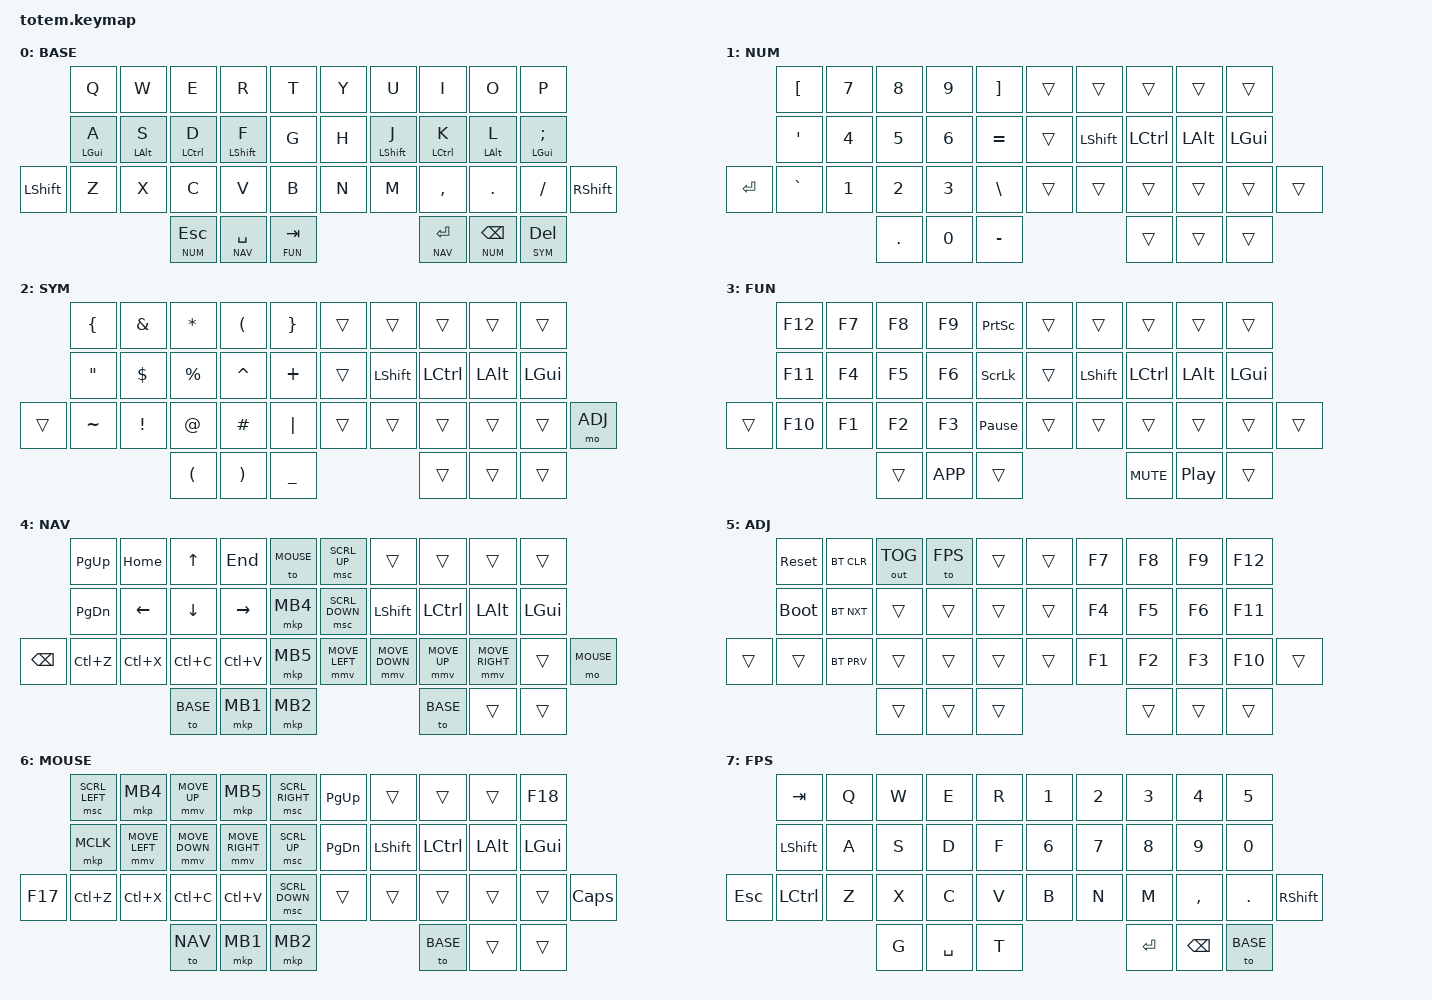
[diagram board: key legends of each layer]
//
//                                                        ▀▀▀▀▀     ▀▀▀▀▀          ▀▀█▀▀
//                                                        ▄▀▀▀▄  ▄  ▄▀▀▀▄  ▄  ▄▀▀▀▄  █  ▄▀▀▀▄
//                                                        █   █  █  █   █  █  █   █  █  █   █
//                                                         ▀▀▀   █   ▀▀▀   █   ▀▀▀   ▀   ▀▀▀
//                                                               █      ▄▄▄█▄▄▄    █   █  
//                                                               ▀      █  █  █     █▄█
//                                                             ▀▀▀▀▀    █  █  █      ▀
//                                                                      ▀  ▀  ▀
//
// ▄▄▄▄▄▄▄▄▄▄▄▄▄▄▄▄▄▄▄▄▄▄▄▄▄▄▄▄▄▄▄▄▄▄▄▄▄▄▄▄▄▄▄▄▄▄▄▄▄▄▄▄▄▄▄▄▄▄▄▄▄▄▄▄▄▄▄▄▄▄▄▄▄▄▄▄▄▄▄▄▄▄▄▄▄▄▄▄▄▄▄▄▄▄▄▄▄▄▄▄▄▄▄▄▄▄▄▄▄▄▄▄▄▄▄▄▄▄▄▄▄▄▄▄▄▄▄▄▄▄▄▄▄▄▄▄▄▄▄▄▄▄▄▄▄▄▄▄▄
 #include <behaviors.dtsi>
#include <dt-bindings/zmk/keys.h>
#include <dt-bindings/zmk/bt.h>
#include <dt-bindings/zmk/outputs.h>
#include <dt-bindings/zmk/mouse.h>

// 레이어 정의 (Miryoku Flip)
#define BASE 0
#define NUM  1
#define SYM  2
#define FUN  3
#define NAV  4
#define ADJ  5
#define MOUSE 6
#define FPS  7

&mt {
  quick-tap-ms = <190>;
  global-quick-tap;
  flavor = "tap-preferred";
  tapping-term-ms = <195>;
};
/ {
    behaviors {
        // Home row mods - Left
       hm_l: homerow_mods_left {
            compatible = "zmk,behavior-hold-tap";
            #binding-cells = <2>;
            tapping-term-ms = <250>;
            quick-tap-ms = <175>;
            require-prior-idle-ms = <150>;  // 다시 150으로 복구
            flavor = "balanced";       // balanced → hold-preferred
            bindings = <&kp>, <&kp>;
            hold-trigger-key-positions = <5 6 7 8 9 15 16 17 18 19 25 26 27 28 29 33 34 35>;
            hold-trigger-on-release;
        };
        
        hm_r: homerow_mods_right {
            compatible = "zmk,behavior-hold-tap";
            #binding-cells = <2>;
            tapping-term-ms = <250>;
            quick-tap-ms = <175>;
            require-prior-idle-ms = <150>;
            flavor = "balanced";
            bindings = <&kp>, <&kp>;
            hold-trigger-key-positions = <0 1 2 3 4 10 11 12 13 14 20 21 22 23 24 30 31 32>;
            hold-trigger-on-release;
        };

        // Layer tap
        lt_spc: layer_tap_space {
            compatible = "zmk,behavior-hold-tap";
            #binding-cells = <2>;
            tapping-term-ms = <200>;
            quick-tap-ms = <175>;
            flavor = "balanced";
            bindings = <&mo>, <&kp>;
        };
    };

    combos {
        compatible = "zmk,combos";
        
        // ESC combo (Q + W) - 게임 중 Q+W 동시 입력 시 ESC가 나가지 않도록 FPS 레이어 제외
        combo_esc {
            timeout-ms = <50>;
            key-positions = <0 1>;
            bindings = <&kp ESC>;
            layers = <BASE NUM SYM FUN NAV ADJ MOUSE>;
        };
        
        // 한/영 전환 (K + L)
        combo_han_eng {
            timeout-ms = <50>;
            key-positions = <17 18>;
            bindings = <&kp LANG1>;
            layers = <BASE NUM SYM FUN NAV ADJ MOUSE>;
        };

        combo_nav_tog {
            timeout-ms = <50>;
            key-positions = <28 29>;
            bindings = <&to MOUSE>;
            layers = <BASE NUM SYM FUN NAV ADJ MOUSE>;
        };

        combo_mouse_tog {
            timeout-ms = <50>;
            key-positions = <27 28>;
            bindings = <&mo MOUSE>;
            layers = <BASE NUM SYM FUN NAV ADJ MOUSE>;
        };
    };

    keymap {
        compatible = "zmk,keymap";

// ▄▄▄▄▄▄▄▄▄▄▄▄▄▄▄▄▄▄▄▄▄▄▄▄▄▄▄▄▄▄▄▄▄▄▄▄▄▄▄▄▄▄▄▄▄▄▄▄▄▄▄▄▄▄▄▄▄▄▄▄▄▄▄▄▄▄▄▄▄▄▄▄▄▄▄▄▄▄▄▄▄▄▄▄▄▄▄▄▄▄▄▄▄▄▄▄▄▄▄▄▄▄▄▄▄▄▄▄▄▄▄▄▄▄▄▄▄▄▄▄▄▄▄▄▄▄▄▄▄▄▄▄▄▄▄▄▄▄▄▄▄▄▄▄▄▄▄▄▄

        base_layer {
// ┏━━━━━━━━━━━━━━━━━━━━━━━━━━━━━━━━━━━━━━━┓
label= "BASE"                              ;
// ┗━━━━━━━━━━━━━━━━━━━━━━━━━━━━━━━━━━━━━━━┛
//             ┏━━━━━━━━━━━┳━━━━━━━━━━━┳━━━━━━━━━━━┳━━━━━━━━━━━┳━━━━━━━━━━━┓   ┏━━━━━━━━━━━┳━━━━━━━━━━━┳━━━━━━━━━━━┳━━━━━━━━━━━┳━━━━━━━━━━━┓
//             ┃     Q     ┃     W     ┃     E     ┃     R     ┃     T     ┃   ┃     Y     ┃     U     ┃     I     ┃     O     ┃     P     ┃
//             ┣━━━━━━━━━━━╋━━━━━━━━━━━╋━━━━━━━━━━━╋━━━━━━━━━━━╋━━━━━━━━━━━┫   ┣━━━━━━━━━━━╋━━━━━━━━━━━╋━━━━━━━━━━━╋━━━━━━━━━━━╋━━━━━━━━━━━┫
//             ┃   GUI/A   ┃   ALT/S   ┃  CTRL/D   ┃  SHFT/F   ┃     G     ┃   ┃     H     ┃  SHFT/J   ┃  CTRL/K   ┃   ALT/L   ┃   GUI/;   ┃
// ┏━━━━━━━━━━━╋━━━━━━━━━━━╋━━━━━━━━━━━╋━━━━━━━━━━━╋━━━━━━━━━━━╋━━━━━━━━━━━┫   ┣━━━━━━━━━━━╋━━━━━━━━━━━╋━━━━━━━━━━━╋━━━━━━━━━━━╋━━━━━━━━━━━╋━━━━━━━━━━━┓
// ┃    SHFT   ┃     Z     ┃     X     ┃     C     ┃     V     ┃     B     ┃   ┃     N     ┃     M     ┃     ,     ┃     .     ┃     /     ┃    SHFT   ┃
// ┗━━━━━━━━━━━┻━━━━━━━━━━━┻━━━━━━━━━━━╋━━━━━━━━━━━╋━━━━━━━━━━━╋━━━━━━━━━━━┫   ┣━━━━━━━━━━━╋━━━━━━━━━━━╋━━━━━━━━━━━╋━━━━━━━━━━━┻━━━━━━━━━━━┻━━━━━━━━━━━┛
//                                     ┃  NUM/ESC  ┃  SYM/SPC  ┃  FUN/TAB  ┃   ┃  NAV/ENT  ┃ NUM/BSPC  ┃  SYM/DEL  ┃
//                                     ┗━━━━━━━━━━━┻━━━━━━━━━━━┻━━━━━━━━━━━┛   ┗━━━━━━━━━━━┻━━━━━━━━━━━┻━━━━━━━━━━━┛
 bindings = <
// ╷           ╷           ╷           ╷           ╷           ╷           ╷   ╷           ╷           ╷           ╷           ╷           ╷           ╷

                &kp Q       &kp W       &kp E       &kp R       &kp T           &kp Y       &kp U       &kp I       &kp O       &kp P
                &hm_l LGUI A &hm_l LALT S &hm_l LCTRL D &hm_l LSHFT F &kp G     &kp H    &hm_r LSHFT J &hm_r LCTRL K &hm_r LALT L &hm_r LGUI SEMI
    &kp LSHFT   &kp Z       &kp X       &kp C       &kp V       &kp B           &kp N       &kp M       &kp COMMA   &kp DOT     &kp FSLH    &kp RSHFT
                                    &lt_spc NUM ESC &lt_spc NAV SPACE &lt_spc FUN TAB     &lt_spc NAV RET &lt_spc NUM BSPC &lt_spc SYM DEL
                        >;
                };

// ▄▄▄▄▄▄▄▄▄▄▄▄▄▄▄▄▄▄▄▄▄▄▄▄▄▄▄▄▄▄▄▄▄▄▄▄▄▄▄▄▄▄▄▄▄▄▄▄▄▄▄▄▄▄▄▄▄▄▄▄▄▄▄▄▄▄▄▄▄▄▄▄▄▄▄▄▄▄▄▄▄▄▄▄▄▄▄▄▄▄▄▄▄▄▄▄▄▄▄▄▄▄▄▄▄▄▄▄▄▄▄▄▄▄▄▄▄▄▄▄▄▄▄▄▄▄▄▄▄▄▄▄▄▄▄▄▄▄▄▄▄▄▄▄▄▄▄▄▄

        num_layer {
// ┏━━━━━━━━━━━━━━━━━━━━━━━━━━━━━━━━━━━━━━━┓
label= "NUM"                               ;
// ┗━━━━━━━━━━━━━━━━━━━━━━━━━━━━━━━━━━━━━━━┛
//             ┏━━━━━━━━━━━┳━━━━━━━━━━━┳━━━━━━━━━━━┳━━━━━━━━━━━┳━━━━━━━━━━━┓   ┏━━━━━━━━━━━┳━━━━━━━━━━━┳━━━━━━━━━━━┳━━━━━━━━━━━┳━━━━━━━━━━━┓
//             ┃     [     ┃     7     ┃     8     ┃     9     ┃     ]     ┃   ┃           ┃           ┃           ┃           ┃           ┃
//             ┣━━━━━━━━━━━╋━━━━━━━━━━━╋━━━━━━━━━━━╋━━━━━━━━━━━╋━━━━━━━━━━━┫   ┣━━━━━━━━━━━╋━━━━━━━━━━━╋━━━━━━━━━━━╋━━━━━━━━━━━╋━━━━━━━━━━━┫
//             ┃     '     ┃     4     ┃     5     ┃     6     ┃     =     ┃   ┃           ┃   SHIFT   ┃   CTRL    ┃    ALT    ┃    GUI    ┃
// ┏━━━━━━━━━━━╋━━━━━━━━━━━╋━━━━━━━━━━━╋━━━━━━━━━━━╋━━━━━━━━━━━╋━━━━━━━━━━━┫   ┣━━━━━━━━━━━╋━━━━━━━━━━━╋━━━━━━━━━━━╋━━━━━━━━━━━╋━━━━━━━━━━━╋━━━━━━━━━━━┓
// ┃    ENT    ┃     `     ┃     1     ┃     2     ┃     3     ┃     \     ┃   ┃           ┃           ┃           ┃           ┃           ┃           ┃
// ┗━━━━━━━━━━━┻━━━━━━━━━━━┻━━━━━━━━━━━╋━━━━━━━━━━━╋━━━━━━━━━━━╋━━━━━━━━━━━┫   ┣━━━━━━━━━━━╋━━━━━━━━━━━╋━━━━━━━━━━━╋━━━━━━━━━━━┻━━━━━━━━━━━┻━━━━━━━━━━━┛
//                                     ┃     .     ┃     0     ┃     -     ┃   ┃           ┃           ┃           ┃
//                                     ┗━━━━━━━━━━━┻━━━━━━━━━━━┻━━━━━━━━━━━┛   ┗━━━━━━━━━━━┻━━━━━━━━━━━┻━━━━━━━━━━━┛
 bindings = <
// ╷           ╷           ╷           ╷           ╷           ╷           ╷   ╷           ╷           ╷           ╷           ╷           ╷           ╷

                &kp LBKT    &kp N7      &kp N8      &kp N9      &kp RBKT        &trans      &trans      &trans      &trans      &trans
                &kp SQT     &kp N4      &kp N5      &kp N6      &kp EQUAL       &trans      &kp LSHFT   &kp LCTRL   &kp LALT    &kp LGUI
    &kp RET     &kp GRAVE   &kp N1      &kp N2      &kp N3      &kp BSLH        &trans      &trans      &trans      &trans      &trans      &trans
                                        &kp DOT     &kp N0      &kp MINUS       &trans      &trans      &trans
                        >;
                };

// ▄▄▄▄▄▄▄▄▄▄▄▄▄▄▄▄▄▄▄▄▄▄▄▄▄▄▄▄▄▄▄▄▄▄▄▄▄▄▄▄▄▄▄▄▄▄▄▄▄▄▄▄▄▄▄▄▄▄▄▄▄▄▄▄▄▄▄▄▄▄▄▄▄▄▄▄▄▄▄▄▄▄▄▄▄▄▄▄▄▄▄▄▄▄▄▄▄▄▄▄▄▄▄▄▄▄▄▄▄▄▄▄▄▄▄▄▄▄▄▄▄▄▄▄▄▄▄▄▄▄▄▄▄▄▄▄▄▄▄▄▄▄▄▄▄▄▄▄▄

        sym_layer {
// ┏━━━━━━━━━━━━━━━━━━━━━━━━━━━━━━━━━━━━━━━┓
label= "SYM"                               ;
// ┗━━━━━━━━━━━━━━━━━━━━━━━━━━━━━━━━━━━━━━━┛
//             ┏━━━━━━━━━━━┳━━━━━━━━━━━┳━━━━━━━━━━━┳━━━━━━━━━━━┳━━━━━━━━━━━┓   ┏━━━━━━━━━━━┳━━━━━━━━━━━┳━━━━━━━━━━━┳━━━━━━━━━━━┳━━━━━━━━━━━┓
//             ┃     {     ┃     &     ┃     *     ┃     (     ┃     }     ┃   ┃           ┃           ┃           ┃           ┃           ┃
//             ┣━━━━━━━━━━━╋━━━━━━━━━━━╋━━━━━━━━━━━╋━━━━━━━━━━━╋━━━━━━━━━━━┫   ┣━━━━━━━━━━━╋━━━━━━━━━━━╋━━━━━━━━━━━╋━━━━━━━━━━━╋━━━━━━━━━━━┫
//             ┃     "     ┃     $     ┃     %     ┃     ^     ┃     +     ┃   ┃           ┃   SHIFT   ┃   CTRL    ┃    ALT    ┃    GUI    ┃
// ┏━━━━━━━━━━━╋━━━━━━━━━━━╋━━━━━━━━━━━╋━━━━━━━━━━━╋━━━━━━━━━━━╋━━━━━━━━━━━┫   ┣━━━━━━━━━━━╋━━━━━━━━━━━╋━━━━━━━━━━━╋━━━━━━━━━━━╋━━━━━━━━━━━╋━━━━━━━━━━━┓
// ┃           ┃     ~     ┃     !     ┃     @     ┃     #     ┃     |     ┃   ┃           ┃           ┃           ┃           ┃           ┃           ┃
// ┗━━━━━━━━━━━┻━━━━━━━━━━━┻━━━━━━━━━━━╋━━━━━━━━━━━╋━━━━━━━━━━━╋━━━━━━━━━━━┫   ┣━━━━━━━━━━━╋━━━━━━━━━━━╋━━━━━━━━━━━╋━━━━━━━━━━━┻━━━━━━━━━━━┻━━━━━━━━━━━┛
//                                     ┃     (     ┃     )     ┃     _     ┃   ┃           ┃           ┃           ┃
//                                     ┗━━━━━━━━━━━┻━━━━━━━━━━━┻━━━━━━━━━━━┛   ┗━━━━━━━━━━━┻━━━━━━━━━━━┻━━━━━━━━━━━┛
 bindings = <
// ╷           ╷           ╷           ╷           ╷           ╷           ╷   ╷           ╷           ╷           ╷           ╷           ╷           ╷

                &kp LBRC    &kp AMPS    &kp STAR    &kp LPAR    &kp RBRC        &trans      &trans      &trans      &trans      &trans
                &kp DQT     &kp DLLR    &kp PRCNT   &kp CARET   &kp PLUS        &trans      &kp LSHFT   &kp LCTRL   &kp LALT    &kp LGUI
    &trans      &kp TILDE   &kp EXCL    &kp AT      &kp HASH    &kp PIPE        &trans      &trans      &trans      &trans      &trans      &mo ADJ
                                        &kp LPAR    &kp RPAR    &kp UNDER       &trans      &trans      &trans
                        >;
                };

// ▄▄▄▄▄▄▄▄▄▄▄▄▄▄▄▄▄▄▄▄▄▄▄▄▄▄▄▄▄▄▄▄▄▄▄▄▄▄▄▄▄▄▄▄▄▄▄▄▄▄▄▄▄▄▄▄▄▄▄▄▄▄▄▄▄▄▄▄▄▄▄▄▄▄▄▄▄▄▄▄▄▄▄▄▄▄▄▄▄▄▄▄▄▄▄▄▄▄▄▄▄▄▄▄▄▄▄▄▄▄▄▄▄▄▄▄▄▄▄▄▄▄▄▄▄▄▄▄▄▄▄▄▄▄▄▄▄▄▄▄▄▄▄▄▄▄▄▄▄

        fun_layer {
// ┏━━━━━━━━━━━━━━━━━━━━━━━━━━━━━━━━━━━━━━━┓
label= "FUN"                               ;
// ┗━━━━━━━━━━━━━━━━━━━━━━━━━━━━━━━━━━━━━━━┛
//             ┏━━━━━━━━━━━┳━━━━━━━━━━━┳━━━━━━━━━━━┳━━━━━━━━━━━┳━━━━━━━━━━━┓   ┏━━━━━━━━━━━┳━━━━━━━━━━━┳━━━━━━━━━━━┳━━━━━━━━━━━┳━━━━━━━━━━━┓
//             ┃    F12    ┃    F7     ┃    F8     ┃    F9     ┃   PSCRN   ┃   ┃           ┃           ┃           ┃           ┃           ┃
//             ┣━━━━━━━━━━━╋━━━━━━━━━━━╋━━━━━━━━━━━╋━━━━━━━━━━━╋━━━━━━━━━━━┫   ┣━━━━━━━━━━━╋━━━━━━━━━━━╋━━━━━━━━━━━╋━━━━━━━━━━━╋━━━━━━━━━━━┫
//             ┃    F11    ┃    F4     ┃    F5     ┃    F6     ┃   SLCK    ┃   ┃           ┃   SHIFT   ┃   CTRL    ┃    ALT    ┃    GUI    ┃
// ┏━━━━━━━━━━━╋━━━━━━━━━━━╋━━━━━━━━━━━╋━━━━━━━━━━━╋━━━━━━━━━━━╋━━━━━━━━━━━┫   ┣━━━━━━━━━━━╋━━━━━━━━━━━╋━━━━━━━━━━━╋━━━━━━━━━━━╋━━━━━━━━━━━╋━━━━━━━━━━━┓
// ┃           ┃    F10    ┃    F1     ┃    F2     ┃    F3     ┃   PAUSE   ┃   ┃           ┃           ┃           ┃           ┃           ┃           ┃
// ┗━━━━━━━━━━━┻━━━━━━━━━━━┻━━━━━━━━━━━╋━━━━━━━━━━━╋━━━━━━━━━━━╋━━━━━━━━━━━┫   ┣━━━━━━━━━━━╋━━━━━━━━━━━╋━━━━━━━━━━━╋━━━━━━━━━━━┻━━━━━━━━━━━┻━━━━━━━━━━━┛
//                                     ┃           ┃   K_APP   ┃           ┃   ┃   MUTE    ┃   PLAY    ┃           ┃
//                                     ┗━━━━━━━━━━━┻━━━━━━━━━━━┻━━━━━━━━━━━┛   ┗━━━━━━━━━━━┻━━━━━━━━━━━┻━━━━━━━━━━━┛
 bindings = <
// ╷           ╷           ╷           ╷           ╷           ╷           ╷   ╷           ╷           ╷           ╷           ╷           ╷           ╷

                &kp F12     &kp F7      &kp F8      &kp F9      &kp PSCRN       &trans      &trans      &trans      &trans      &trans
                &kp F11     &kp F4      &kp F5      &kp F6      &kp SLCK        &trans      &kp LSHFT   &kp LCTRL   &kp LALT    &kp LGUI
    &trans      &kp F10     &kp F1      &kp F2      &kp F3      &kp PAUSE_BREAK &trans      &trans      &trans      &trans      &trans      &trans
                                        &trans      &kp K_APP   &trans          &kp C_MUTE  &kp C_PP    &trans
                        >;
                };

// ▄▄▄▄▄▄▄▄▄▄▄▄▄▄▄▄▄▄▄▄▄▄▄▄▄▄▄▄▄▄▄▄▄▄▄▄▄▄▄▄▄▄▄▄▄▄▄▄▄▄▄▄▄▄▄▄▄▄▄▄▄▄▄▄▄▄▄▄▄▄▄▄▄▄▄▄▄▄▄▄▄▄▄▄▄▄▄▄▄▄▄▄▄▄▄▄▄▄▄▄▄▄▄▄▄▄▄▄▄▄▄▄▄▄▄▄▄▄▄▄▄▄▄▄▄▄▄▄▄▄▄▄▄▄▄▄▄▄▄▄▄▄▄▄▄▄▄▄▄

        nav_layer {
// ┏━━━━━━━━━━━━━━━━━━━━━━━━━━━━━━━━━━━━━━━┓
label= "NAV"                               ;
// ┗━━━━━━━━━━━━━━━━━━━━━━━━━━━━━━━━━━━━━━━┛
//             ┏━━━━━━━━━━━┳━━━━━━━━━━━┳━━━━━━━━━━━┳━━━━━━━━━━━┳━━━━━━━━━━━┓   ┏━━━━━━━━━━━┳━━━━━━━━━━━┳━━━━━━━━━━━┳━━━━━━━━━━━┳━━━━━━━━━━━┓
//             ┃   PG_UP   ┃   HOME    ┃    UP     ┃    END    ┃    INS    ┃   ┃  SCRL_UP  ┃           ┃           ┃           ┃           ┃
//             ┣━━━━━━━━━━━╋━━━━━━━━━━━╋━━━━━━━━━━━╋━━━━━━━━━━━╋━━━━━━━━━━━┫   ┣━━━━━━━━━━━╋━━━━━━━━━━━╋━━━━━━━━━━━╋━━━━━━━━━━━╋━━━━━━━━━━━┫
//             ┃   PG_DN   ┃   LEFT    ┃   DOWN    ┃   RIGHT   ┃   CAPS    ┃   ┃  SCRL_DW  ┃   SHIFT   ┃   CTRL    ┃    ALT    ┃    GUI    ┃
// ┏━━━━━━━━━━━╋━━━━━━━━━━━╋━━━━━━━━━━━╋━━━━━━━━━━━╋━━━━━━━━━━━╋━━━━━━━━━━━┫   ┣━━━━━━━━━━━╋━━━━━━━━━━━╋━━━━━━━━━━━╋━━━━━━━━━━━╋━━━━━━━━━━━╋━━━━━━━━━━━┓
// ┃   BSPC    ┃   UNDO    ┃    CUT    ┃   COPY    ┃   PASTE   ┃   REDO    ┃   ┃  MOUS_LF  ┃  MOUS_DW  ┃  MOUS_UP  ┃  MOUS_RT  ┃           ┃   MOUSE   ┃
// ┗━━━━━━━━━━━┻━━━━━━━━━━━┻━━━━━━━━━━━╋━━━━━━━━━━━╋━━━━━━━━━━━╋━━━━━━━━━━━┫   ┣━━━━━━━━━━━╋━━━━━━━━━━━╋━━━━━━━━━━━╋━━━━━━━━━━━┻━━━━━━━━━━━┻━━━━━━━━━━━┛
//                                     ┃   MOUS_H  ┃  MOUS_LK  ┃  MOUS_RK  ┃   ┃           ┃           ┃           ┃
//                                     ┗━━━━━━━━━━━┻━━━━━━━━━━━┻━━━━━━━━━━━┛   ┗━━━━━━━━━━━┻━━━━━━━━━━━┻━━━━━━━━━━━┛
 bindings = <
// ╷           ╷           ╷           ╷           ╷           ╷           ╷   ╷           ╷           ╷           ╷           ╷           ╷           ╷

                &kp PG_UP   &kp HOME    &kp UP      &kp END     &to MOUSE       &msc SCRL_UP      &trans      &trans      &trans      &trans
                &kp PG_DN   &kp LEFT    &kp DOWN    &kp RIGHT   &mkp MB4        &msc SCRL_DOWN      &kp LSHFT   &kp LCTRL   &kp LALT    &kp LGUI
    &kp BSPC    &kp LC(Z)   &kp LC(X)   &kp LC(C)   &kp LC(V)   &mkp MB5        &mmv MOVE_LEFT      &mmv MOVE_DOWN      &mmv MOVE_UP      &mmv MOVE_RIGHT      &trans   &mo MOUSE
                                        &to BASE  &mkp MB1      &mkp MB2      &to BASE      &trans      &trans
                        >;
                };

// ▄▄▄▄▄▄▄▄▄▄▄▄▄▄▄▄▄▄▄▄▄▄▄▄▄▄▄▄▄▄▄▄▄▄▄▄▄▄▄▄▄▄▄▄▄▄▄▄▄▄▄▄▄▄▄▄▄▄▄▄▄▄▄▄▄▄▄▄▄▄▄▄▄▄▄▄▄▄▄▄▄▄▄▄▄▄▄▄▄▄▄▄▄▄▄▄▄▄▄▄▄▄▄▄▄▄▄▄▄▄▄▄▄▄▄▄▄▄▄▄▄▄▄▄▄▄▄▄▄▄▄▄▄▄▄▄▄▄▄▄▄▄▄▄▄▄▄▄▄

        adj_layer {
// ┏━━━━━━━━━━━━━━━━━━━━━━━━━━━━━━━━━━━━━━━┓
label= "ADJ"                               ;
// ┗━━━━━━━━━━━━━━━━━━━━━━━━━━━━━━━━━━━━━━━┛
//             ┏━━━━━━━━━━━┳━━━━━━━━━━━┳━━━━━━━━━━━┳━━━━━━━━━━━┳━━━━━━━━━━━┓   ┏━━━━━━━━━━━┳━━━━━━━━━━━┳━━━━━━━━━━━┳━━━━━━━━━━━┳━━━━━━━━━━━┓
//             ┃   RESET   ┃ BT CLEAR  ┃  OUT TOG  ┃    FPS    ┃           ┃   ┃           ┃    F7     ┃    F8     ┃    F9     ┃    F12    ┃
//             ┣━━━━━━━━━━━╋━━━━━━━━━━━╋━━━━━━━━━━━╋━━━━━━━━━━━╋━━━━━━━━━━━┫   ┣━━━━━━━━━━━╋━━━━━━━━━━━╋━━━━━━━━━━━╋━━━━━━━━━━━╋━━━━━━━━━━━┫
//             ┃ BOOTLOAD  ┃ BT NEXT   ┃           ┃           ┃           ┃   ┃           ┃    F4     ┃    F5     ┃    F6     ┃    F11    ┃
// ┏━━━━━━━━━━━╋━━━━━━━━━━━╋━━━━━━━━━━━╋━━━━━━━━━━━╋━━━━━━━━━━━╋━━━━━━━━━━━┫   ┣━━━━━━━━━━━╋━━━━━━━━━━━╋━━━━━━━━━━━╋━━━━━━━━━━━╋━━━━━━━━━━━╋━━━━━━━━━━━┓
// ┃           ┃           ┃ BT PREV   ┃           ┃           ┃           ┃   ┃           ┃    F1     ┃    F2     ┃    F3     ┃    F10    ┃           ┃
// ┗━━━━━━━━━━━┻━━━━━━━━━━━┻━━━━━━━━━━━╋━━━━━━━━━━━╋━━━━━━━━━━━╋━━━━━━━━━━━┫   ┣━━━━━━━━━━━╋━━━━━━━━━━━╋━━━━━━━━━━━╋━━━━━━━━━━━┻━━━━━━━━━━━┻━━━━━━━━━━━┛
//                                     ┃           ┃           ┃           ┃   ┃           ┃           ┃           ┃
//                                     ┗━━━━━━━━━━━┻━━━━━━━━━━━┻━━━━━━━━━━━┛   ┗━━━━━━━━━━━┻━━━━━━━━━━━┻━━━━━━━━━━━┛
 bindings = <
// ╷           ╷           ╷           ╷           ╷           ╷           ╷   ╷           ╷           ╷           ╷           ╷           ╷           ╷

                &sys_reset  &bt BT_CLR  &out OUT_TOG &to FPS    &trans          &trans      &kp F7      &kp F8      &kp F9      &kp F12
                &bootloader &bt BT_NXT  &trans      &trans      &trans          &trans      &kp F4      &kp F5      &kp F6      &kp F11  
    &trans      &trans      &bt BT_PRV  &trans      &trans      &trans          &trans      &kp F1      &kp F2      &kp F3      &kp F10     &trans         
                                        &trans      &trans      &trans          &trans      &trans      &trans      
                        >;
                };
// ▄▄▄▄▄▄▄▄▄▄▄▄▄▄▄▄▄▄▄▄▄▄▄▄▄▄▄▄▄▄▄▄▄▄▄▄▄▄▄▄▄▄▄▄▄▄▄▄▄▄▄▄▄▄▄▄▄▄▄▄▄▄▄▄▄▄▄▄▄▄▄▄▄▄▄▄▄▄▄▄▄▄▄▄▄▄▄▄▄▄▄▄▄▄▄▄▄▄▄▄▄▄▄▄▄▄▄▄▄▄▄▄▄▄▄▄▄▄▄▄▄▄▄▄▄▄▄▄▄▄▄▄▄▄▄▄▄▄▄▄▄▄▄▄▄▄▄▄▄

        mouse_layer {
// ┏━━━━━━━━━━━━━━━━━━━━━━━━━━━━━━━━━━━━━━━┓
label= "MOUSE"                               ;
// ┗━━━━━━━━━━━━━━━━━━━━━━━━━━━━━━━━━━━━━━━┛
//             ┏━━━━━━━━━━━┳━━━━━━━━━━━┳━━━━━━━━━━━┳━━━━━━━━━━━┳━━━━━━━━━━━┓   ┏━━━━━━━━━━━┳━━━━━━━━━━━┳━━━━━━━━━━━┳━━━━━━━━━━━┳━━━━━━━━━━━┓
//             ┃  SCRL_UP  ┃   HOME    ┃    UP     ┃    END    ┃    INS    ┃   ┃           ┃           ┃           ┃           ┃           ┃
//             ┣━━━━━━━━━━━╋━━━━━━━━━━━╋━━━━━━━━━━━╋━━━━━━━━━━━╋━━━━━━━━━━━┫   ┣━━━━━━━━━━━╋━━━━━━━━━━━╋━━━━━━━━━━━╋━━━━━━━━━━━╋━━━━━━━━━━━┫
//             ┃  SCRL_DW  ┃   LEFT    ┃   DOWN    ┃   RIGHT   ┃   PREV    ┃   ┃  SCRL_DW  ┃   SHIFT   ┃   CTRL    ┃    ALT    ┃    GUI    ┃
// ┏━━━━━━━━━━━╋━━━━━━━━━━━╋━━━━━━━━━━━╋━━━━━━━━━━━╋━━━━━━━━━━━╋━━━━━━━━━━━┫   ┣━━━━━━━━━━━╋━━━━━━━━━━━╋━━━━━━━━━━━╋━━━━━━━━━━━╋━━━━━━━━━━━╋━━━━━━━━━━━┓
// ┃   BSPC    ┃           ┃           ┃   COPY    ┃   PASTE   ┃   Next    ┃   ┃  MOUS_LF  ┃  MOUS_DW  ┃  MOUS_UP  ┃  MOUS_RT  ┃           ┃    CAPS   ┃
// ┗━━━━━━━━━━━┻━━━━━━━━━━━┻━━━━━━━━━━━╋━━━━━━━━━━━╋━━━━━━━━━━━╋━━━━━━━━━━━┫   ┣━━━━━━━━━━━╋━━━━━━━━━━━╋━━━━━━━━━━━╋━━━━━━━━━━━┻━━━━━━━━━━━┻━━━━━━━━━━━┛
//                                     ┃   MOUS_H  ┃  MOUS_LK  ┃  MOUS_RK  ┃   ┃           ┃           ┃           ┃
//                                     ┗━━━━━━━━━━━┻━━━━━━━━━━━┻━━━━━━━━━━━┛   ┗━━━━━━━━━━━┻━━━━━━━━━━━┻━━━━━━━━━━━┛
 bindings = <
// ╷           ╷           ╷           ╷           ╷           ╷           ╷   ╷           ╷           ╷           ╷           ╷           ╷           ╷

               &msc SCRL_LEFT    &mkp MB4     &mmv MOVE_UP     &mkp MB5     &msc SCRL_RIGHT                  &kp PG_UP     &trans      &trans      &trans      &kp F18
               &mkp MCLK  &mmv MOVE_LEFT &mmv MOVE_DOWN &mmv MOVE_RIGHT   &msc SCRL_UP          &kp PG_DN     &kp LSHFT   &kp LCTRL   &kp LALT    &kp LGUI
    &kp F17     &kp LC(Z)   &kp LC(X)    &kp LC(C)   &kp LC(V)   &msc SCRL_DOWN                         &trans        &trans      &trans      &trans      &trans   &kp CAPS
                                        &to NAV      &mkp MB1      &mkp MB2                      &to BASE      &trans      &trans
                        >;
                };

// ▄▄▄▄▄▄▄▄▄▄▄▄▄▄▄▄▄▄▄▄▄▄▄▄▄▄▄▄▄▄▄▄▄▄▄▄▄▄▄▄▄▄▄▄▄▄▄▄▄▄▄▄▄▄▄▄▄▄▄▄▄▄▄▄▄▄▄▄▄▄▄▄▄▄▄▄▄▄▄▄▄▄▄▄▄▄▄▄▄▄▄▄▄▄▄▄▄▄▄▄▄▄▄▄▄▄▄▄▄▄▄▄▄▄▄▄▄▄▄▄▄▄▄▄▄▄▄▄▄▄▄▄▄▄▄▄▄▄▄▄▄▄▄▄▄▄▄▄▄

        fps_layer {
// ┏━━━━━━━━━━━━━━━━━━━━━━━━━━━━━━━━━━━━━━━┓
label= "FPS"                               ;
// ┗━━━━━━━━━━━━━━━━━━━━━━━━━━━━━━━━━━━━━━━┛
// 홈로우 모드/레이어탭 없음 - 모든 키 즉시 입력 / 왼손 한 칸 오른쪽으로 시프트 (WASD가 W=E 자리)
//             ┏━━━━━━━━━━━┳━━━━━━━━━━━┳━━━━━━━━━━━┳━━━━━━━━━━━┳━━━━━━━━━━━┓   ┏━━━━━━━━━━━┳━━━━━━━━━━━┳━━━━━━━━━━━┳━━━━━━━━━━━┳━━━━━━━━━━━┓
//             ┃    TAB    ┃     Q     ┃     W     ┃     E     ┃     R     ┃   ┃     1     ┃     2     ┃     3     ┃     4     ┃     5     ┃
//             ┣━━━━━━━━━━━╋━━━━━━━━━━━╋━━━━━━━━━━━╋━━━━━━━━━━━╋━━━━━━━━━━━┫   ┣━━━━━━━━━━━╋━━━━━━━━━━━╋━━━━━━━━━━━╋━━━━━━━━━━━╋━━━━━━━━━━━┫
//             ┃   SHFT    ┃     A     ┃     S     ┃     D     ┃     F     ┃   ┃     6     ┃     7     ┃     8     ┃     9     ┃     0     ┃
// ┏━━━━━━━━━━━╋━━━━━━━━━━━╋━━━━━━━━━━━╋━━━━━━━━━━━╋━━━━━━━━━━━╋━━━━━━━━━━━┫   ┣━━━━━━━━━━━╋━━━━━━━━━━━╋━━━━━━━━━━━╋━━━━━━━━━━━╋━━━━━━━━━━━╋━━━━━━━━━━━┓
// ┃    ESC    ┃   CTRL    ┃     Z     ┃     X     ┃     C     ┃     V     ┃   ┃     B     ┃     N     ┃     M     ┃     ,     ┃     .     ┃    SHFT   ┃
// ┗━━━━━━━━━━━┻━━━━━━━━━━━┻━━━━━━━━━━━╋━━━━━━━━━━━╋━━━━━━━━━━━╋━━━━━━━━━━━┫   ┣━━━━━━━━━━━╋━━━━━━━━━━━╋━━━━━━━━━━━╋━━━━━━━━━━━┻━━━━━━━━━━━┻━━━━━━━━━━━┛
//                                     ┃     G     ┃   SPACE   ┃     T     ┃   ┃   ENTER   ┃   BSPC    ┃   BASE    ┃
//                                     ┗━━━━━━━━━━━┻━━━━━━━━━━━┻━━━━━━━━━━━┛   ┗━━━━━━━━━━━┻━━━━━━━━━━━┻━━━━━━━━━━━┛
 bindings = <
// ╷           ╷           ╷           ╷           ╷           ╷           ╷   ╷           ╷           ╷           ╷           ╷           ╷           ╷

                &kp TAB     &kp Q       &kp W       &kp E       &kp R           &kp N1      &kp N2      &kp N3      &kp N4      &kp N5
                &kp LSHFT   &kp A       &kp S       &kp D       &kp F           &kp N6      &kp N7      &kp N8      &kp N9      &kp N0
    &kp ESC     &kp LCTRL   &kp Z       &kp X       &kp C       &kp V           &kp B       &kp N       &kp M       &kp COMMA   &kp DOT     &kp RSHFT
                                        &kp G       &kp SPACE   &kp T           &kp RET     &kp BSPC    &to BASE
                        >;
                };

// ▄▄▄▄▄▄▄▄▄▄▄▄▄▄▄▄▄▄▄▄▄▄▄▄▄▄▄▄▄▄▄▄▄▄▄▄▄▄▄▄▄▄▄▄▄▄▄▄▄▄▄▄▄▄▄▄▄▄▄▄▄▄▄▄▄▄▄▄▄▄▄▄▄▄▄▄▄▄▄▄▄▄▄▄▄▄▄▄▄▄▄▄▄▄▄▄▄▄▄▄▄▄▄▄▄▄▄▄▄▄▄▄▄▄▄▄▄▄▄▄▄▄▄▄▄▄▄▄▄▄▄▄▄▄▄▄▄▄▄▄▄▄▄▄▄▄▄▄▄
        };
}; 
